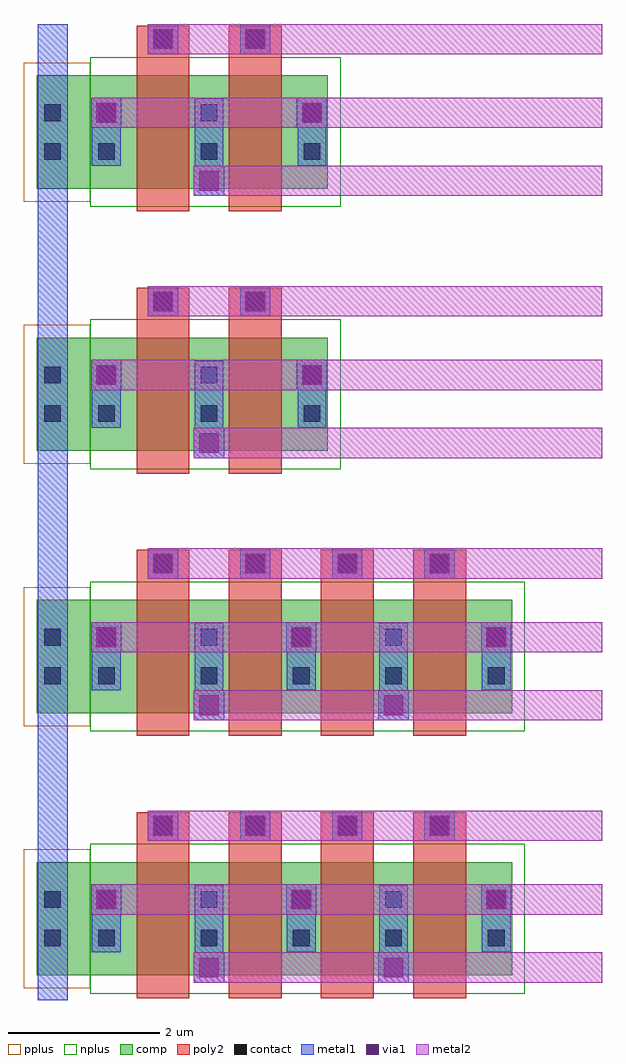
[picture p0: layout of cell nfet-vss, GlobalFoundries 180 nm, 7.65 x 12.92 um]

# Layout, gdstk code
from math import pi, radians
import gdstk
lib = gdstk.Library(unit=1e-6, precision=1e-09)
def R(c, l, rs):  # rectangles x0, y0, x1, y1
    for r in rs: c.add(gdstk.rectangle(r[:2], r[2:], *l))
def A(c, l, x, y, w, h, nx, ny, dx, dy):  # array of equal rectangles
    R(c, l, [(x+i*dx, y+j*dy, x+i*dx+w, y+j*dy+h) for i in range(nx) for j in range(ny)])
comp = (22, 0)
poly2 = (30, 0)
pplus = (31, 0)
nplus = (32, 0)
contact = (33, 0)
metal1 = (34, 0)
via1 = (35, 0)
metal2 = (36, 0)

nfet = lib.new_cell('nfet')
R(nfet, comp, [(-0.42,0,0,1.5), (0,0,2.3,1.5), (2.3,0,2.72,1.5), (2.72,0,3.43,1.5)])
R(nfet, poly2, [(0.19,-0.3,0.89,1.8), (1.41,-0.3,2.11,1.8), (0.19,1.8,0.89,2.16), (1.41,1.8,2.11,2.16)])
R(nfet, pplus, [(2.72,-0.17,3.6,1.67)])
R(nfet, nplus, [(-0.59,-0.24,2.72,1.74)])
A(nfet, contact, -0.32, 0.385, 0.22, 0.22, 3, 2, 1.36, 0.51)
R(nfet, contact, [(3.11,0.385,3.33,0.605), (3.11,0.895,3.33,1.115), (0.43,1.87,0.65,2.09), (1.65,1.87,1.87,2.09)])
A(nfet, metal1, -0.4, 0.305, 0.38, 0.89, 3, 1, 1.36, 0)
R(nfet, metal1, [(3.03,0.305,3.41,1.195), (0.35,1.789,0.73,2.171), (1.57,1.789,1.95,2.171)])

nfet_1 = lib.new_cell('nfet$1')
R(nfet_1, comp, [(-0.42,0,0,1.5), (0,0,4.74,1.5), (4.74,0,5.16,1.5), (5.16,0,5.87,1.5)])
A(nfet_1, poly2, 0.19, -0.3, 0.7, 2.1, 4, 1, 1.22, 0)
A(nfet_1, poly2, 0.19, 1.8, 0.7, 0.36, 4, 1, 1.22, 0)
R(nfet_1, pplus, [(5.16,-0.17,6.04,1.67)])
R(nfet_1, nplus, [(-0.59,-0.24,5.16,1.74)])
A(nfet_1, contact, 1.04, 0.385, 0.22, 0.22, 3, 2, 1.22, 0.51)
A(nfet_1, contact, 0.43, 1.87, 0.22, 0.22, 4, 1, 1.22, 0)
R(nfet_1, contact, [(-0.32,0.385,-0.1,0.605), (4.84,0.385,5.06,0.605), (5.55,0.385,5.77,0.605), (-0.32,0.895,-0.1,1.115), (4.84,0.895,5.06,1.115), (5.55,0.895,5.77,1.115)])
A(nfet_1, metal1, 0.96, 0.305, 0.38, 0.89, 3, 1, 1.22, 0)
A(nfet_1, metal1, 0.35, 1.789, 0.38, 0.382, 4, 1, 1.22, 0)
R(nfet_1, metal1, [(-0.4,0.305,-0.02,1.195), (4.76,0.305,5.14,1.195), (5.47,0.305,5.85,1.195)])

via_dev = lib.new_cell('via_dev')
R(via_dev, metal1, [(0,0,0.4,0.4)])
R(via_dev, via1, [(0.07,0.07,0.33,0.33)])
R(via_dev, metal2, [(0,0,0.4,0.4)])

nfet_vss = lib.new_cell('nfet-vss')
nfet_vss.add(gdstk.FlexPath([(0.745,1.64),(0.745,1.615)], 0.4, ends=(0, 12.89), simple_path=True, layer=34, datatype=0))  # metal1
nfet_vss.add(gdstk.FlexPath([(2.005,1.44),(2.015,1.44),(2.015,1.44)], 0.4, ends=(0, 6), simple_path=True, layer=36, datatype=0))  # metal2
nfet_vss.add(gdstk.FlexPath([(2.005,-2.03),(2.015,-2.03),(2.015,-2.03)], 0.4, ends=(0, 6), simple_path=True, layer=36, datatype=0))  # metal2
nfet_vss.add(gdstk.FlexPath([(2.005,-5.5),(2.015,-5.5),(2.015,-5.5)], 0.4, ends=(0, 6), simple_path=True, layer=36, datatype=0))  # metal2
nfet_vss.add(gdstk.FlexPath([(2.005,-8.97),(2.015,-8.97),(2.015,-8.97)], 0.4, ends=(0, 6), simple_path=True, layer=36, datatype=0))  # metal2
nfet_vss.add(gdstk.FlexPath([(1.255,0.465),(1.265,0.465),(1.265,0.465)], 0.4, ends=(0, 6.75), simple_path=True, layer=36, datatype=0))  # metal2
nfet_vss.add(gdstk.FlexPath([(1.255,-3.005),(1.265,-3.005),(1.265,-3.005)], 0.4, ends=(0, 6.75), simple_path=True, layer=36, datatype=0))  # metal2
nfet_vss.add(gdstk.FlexPath([(1.255,-6.475),(1.265,-6.475),(1.265,-6.475)], 0.4, ends=(0, 6.75), simple_path=True, layer=36, datatype=0))  # metal2
nfet_vss.add(gdstk.FlexPath([(1.255,-9.945),(1.265,-9.945),(1.265,-9.945)], 0.4, ends=(0, 6.75), simple_path=True, layer=36, datatype=0))  # metal2
nfet_vss.add(gdstk.FlexPath([(2.615,-0.435),(2.695,-0.435)], 0.4, ends=(0, 5.32), simple_path=True, layer=36, datatype=0))  # metal2
nfet_vss.add(gdstk.FlexPath([(2.615,-3.905),(2.695,-3.905)], 0.4, ends=(0, 5.32), simple_path=True, layer=36, datatype=0))  # metal2
nfet_vss.add(gdstk.FlexPath([(2.615,-7.375),(2.695,-7.375)], 0.4, ends=(0, 5.32), simple_path=True, layer=36, datatype=0))  # metal2
nfet_vss.add(gdstk.FlexPath([(2.615,-10.845),(2.695,-10.845)], 0.4, ends=(0, 5.32), simple_path=True, layer=36, datatype=0))  # metal2
nfet_vss.add(gdstk.Reference(nfet, (3.965,-0.54), rotation=pi, x_reflection=True))
nfet_vss.add(gdstk.Reference(nfet, (3.965,-4.01), rotation=pi, x_reflection=True))
nfet_vss.add(gdstk.Reference(nfet_1, (6.405,-7.48), rotation=pi, x_reflection=True))
nfet_vss.add(gdstk.Reference(nfet_1, (6.405,-10.95), rotation=pi, x_reflection=True))
nfet_vss.add(gdstk.Reference(via_dev, (1.255,0.265)))
nfet_vss.add(gdstk.Reference(via_dev, (3.975,0.265)))
nfet_vss.add(gdstk.Reference(via_dev, (1.255,-3.205)))
nfet_vss.add(gdstk.Reference(via_dev, (3.975,-3.205)))
nfet_vss.add(gdstk.Reference(via_dev, (1.255,-6.675)))
nfet_vss.add(gdstk.Reference(via_dev, (3.835,-6.675)))
nfet_vss.add(gdstk.Reference(via_dev, (6.415,-6.675)))
nfet_vss.add(gdstk.Reference(via_dev, (1.255,-10.145)))
nfet_vss.add(gdstk.Reference(via_dev, (3.835,-10.145)))
nfet_vss.add(gdstk.Reference(via_dev, (6.415,-10.145)))
nfet_vss.add(gdstk.Reference(via_dev, (2.615,-0.635)))
nfet_vss.add(gdstk.Reference(via_dev, (2.615,-4.105)))
nfet_vss.add(gdstk.Reference(via_dev, (2.615,-7.575)))
nfet_vss.add(gdstk.Reference(via_dev, (5.055,-7.575)))
nfet_vss.add(gdstk.Reference(via_dev, (2.615,-11.045)))
nfet_vss.add(gdstk.Reference(via_dev, (5.055,-11.045)))
nfet_vss.add(gdstk.Reference(via_dev, (2.005,1.24)))
nfet_vss.add(gdstk.Reference(via_dev, (3.225,1.24)))
nfet_vss.add(gdstk.Reference(via_dev, (2.005,-2.23)))
nfet_vss.add(gdstk.Reference(via_dev, (3.225,-2.23)))
nfet_vss.add(gdstk.Reference(via_dev, (2.005,-5.7)))
nfet_vss.add(gdstk.Reference(via_dev, (3.225,-5.7)))
nfet_vss.add(gdstk.Reference(via_dev, (4.445,-5.7)))
nfet_vss.add(gdstk.Reference(via_dev, (5.665,-5.7)))
nfet_vss.add(gdstk.Reference(via_dev, (2.005,-9.17)))
nfet_vss.add(gdstk.Reference(via_dev, (3.225,-9.17)))
nfet_vss.add(gdstk.Reference(via_dev, (4.445,-9.17)))
nfet_vss.add(gdstk.Reference(via_dev, (5.665,-9.17)))

lib.write_gds('nfet-vss.gds')
